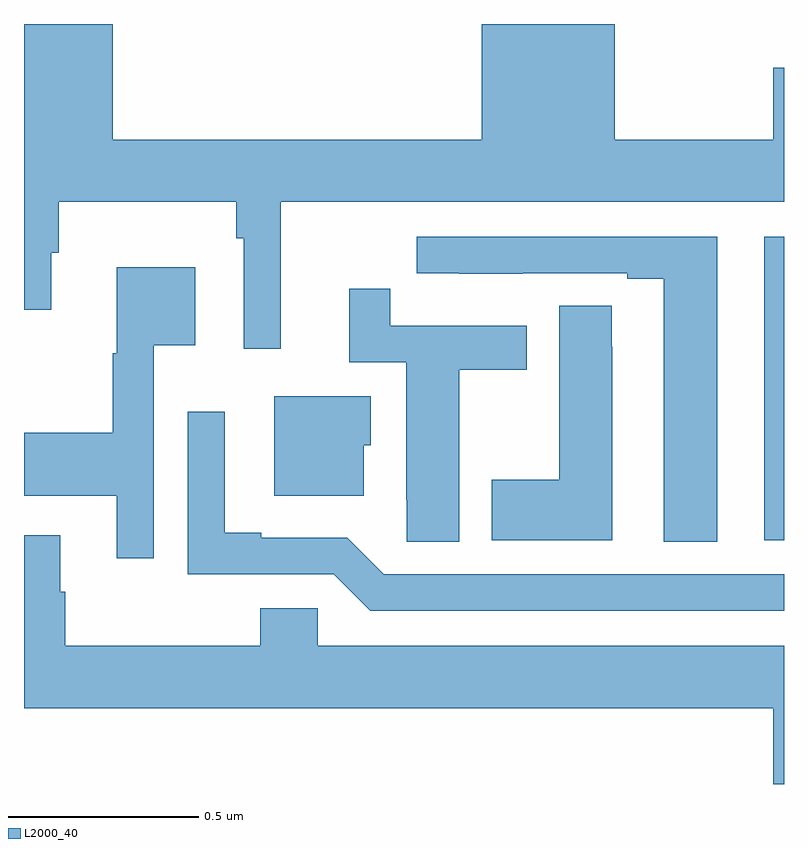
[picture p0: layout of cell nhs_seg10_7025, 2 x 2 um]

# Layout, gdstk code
import gdstk
lib = gdstk.Library(unit=1e-6, precision=1e-09)
def R(c, l, rs):  # rectangles x0, y0, x1, y1
    for r in rs: c.add(gdstk.rectangle(r[:2], r[2:], *l))
def P(c, l, *ps):  # polygons
    for p in ps: c.add(gdstk.Polygon(p, *l))
L2000_40 = (2000, 40)

nhs_seg10_7025 = lib.new_cell('nhs_seg10_7025')
R(nhs_seg10_7025, L2000_40, [(200.948,1250.142,201,1250.94)])
P(nhs_seg10_7025, L2000_40, [(199.676,1251.032),(201,1251.032),(201,1251.385),(200.972,1251.385),(200.972,1251.196),(200.554,1251.196),(200.554,1251.5),(200.204,1251.5),(200.204,1251.196),(199.234,1251.196),(199.234,1251.5),(199,1251.5),(199,1250.748),(199.072,1250.748),(199.072,1250.898),(199.091,1250.898),(199.091,1251.032),(199.558,1251.032),(199.558,1250.936),(199.578,1250.936),(199.578,1250.646),(199.676,1250.646)],
  [(200.824,1250.94),(200.034,1250.94),(200.034,1250.844),(200.146,1250.844),(200.146,1250.843),(200.312,1250.843),(200.312,1250.844),(200.588,1250.844),(200.588,1250.829),(200.684,1250.829),(200.684,1250.137),(200.824,1250.137)],
  [(199.341,1250.654),(199.45,1250.654),(199.45,1250.86),(199.244,1250.86),(199.244,1250.634),(199.233,1250.634),(199.233,1250.424),(199,1250.424),(199,1250.258),(199.244,1250.258),(199.244,1250.094),(199.341,1250.094)],
  [(200.146,1250.59),(200.323,1250.59),(200.323,1250.706),(199.964,1250.706),(199.964,1250.803),(199.856,1250.803),(199.856,1250.61),(200.006,1250.61),(200.006,1250.248),(200.007,1250.248),(200.007,1250.137),(200.146,1250.137)],
  [(200.548,1250.651),(200.547,1250.651),(200.547,1250.759),(200.408,1250.759),(200.408,1250.301),(200.231,1250.301),(200.231,1250.141),(200.548,1250.141)],
  [(199.894,1250.391),(199.912,1250.391),(199.912,1250.521),(199.658,1250.521),(199.658,1250.258),(199.894,1250.258)],
  [(201,1250.052),(199.947,1250.052),(199.851,1250.148),(199.624,1250.148),(199.624,1250.161),(199.528,1250.161),(199.528,1250.479),(199.431,1250.479),(199.431,1250.052),(199.815,1250.052),(199.911,1249.956),(201,1249.956)],
  [(201,1249.864),(199.773,1249.864),(199.773,1249.962),(199.622,1249.962),(199.622,1249.864),(199.109,1249.864),(199.109,1250.006),(199.096,1250.006),(199.096,1250.155),(199,1250.155),(199,1249.7),(200.972,1249.7),(200.972,1249.5),(201,1249.5)])

lib.write_gds('nhs_seg10_7025.gds')
